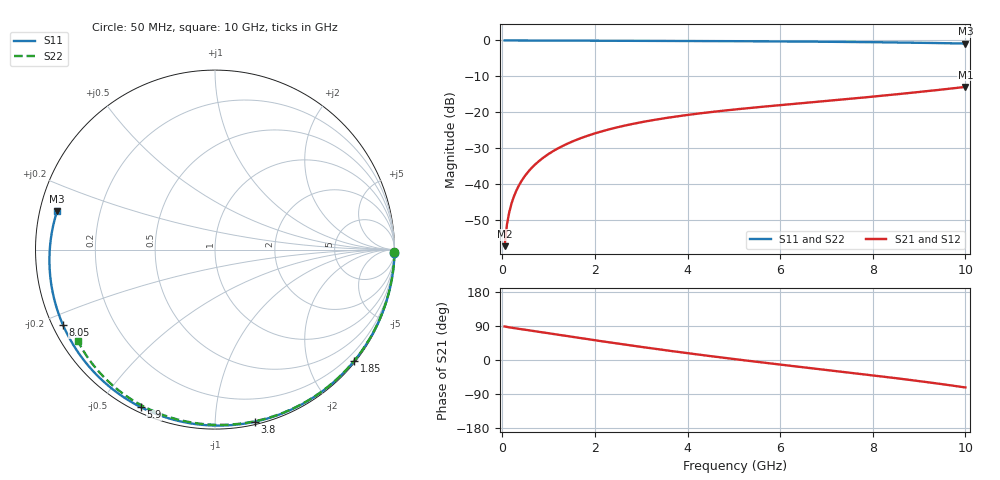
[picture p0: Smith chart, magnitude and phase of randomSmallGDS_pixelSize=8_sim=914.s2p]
! freq	dB(S11)	phase(S11)	dB(S12)	phase(S12)
!  dB(S21)	phase(S21)	dB(S22)	phase(S22)
!S-par simulation data
#  GHz  S  DB  R 50
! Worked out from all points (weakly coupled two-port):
!   200 points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, 50 MHz to 10 GHz, reference 50 ohm
!   highest |S21| = -12.92 dB at 10 GHz (marker M1); lowest = -57.2 dB at 50 MHz (marker M2)
!   lowest |S11| = -0.9 dB at 10 GHz (marker M3), VSWR 20.17, Z = 2.51 + j6 ohm
!   |S11| at or under -10 dB: nowhere
!   |S22| runs from -0.7 to 0.0 dB; largest |S21 - S12| = 0
!   S11 on the Smith chart (normalised r, x): 50 MHz: open; 1.85 GHz: 0.03, -2.84; 3.8 GHz: 0.02, -1.26; 5.9 GHz: 0.02, -0.64; 8.05 GHz: 0.03, -0.23; 10 GHz: 0.05, +0.12
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0.05  -0.00 -1.1  -57.20 88.5  -57.20 88.5  -0.00 -0.9
0.1  -0.00 -2.1  -51.23 87.2  -51.23 87.2  -0.00 -1.7
0.15  -0.00 -3.2  -47.76 86.1  -47.76 86.1  -0.00 -2.6
0.2  -0.00 -4.3  -45.31 85.1  -45.31 85.1  -0.00 -3.4
0.35  -0.01 -7.5  -40.53 82.4  -40.53 82.4  -0.01 -6.0
0.5  -0.01 -10.7  -37.47 79.8  -37.47 79.8  -0.01 -8.6
0.7  -0.02 -14.9  -34.59 76.1  -34.59 76.1  -0.02 -12.0
1  -0.03 -21.2  -31.56 70.5  -31.56 70.5  -0.02 -17.0
1.35  -0.04 -28.5  -29.04 64.0  -29.04 64.0  -0.03 -22.9
1.75  -0.06 -36.7  -26.91 56.7  -26.91 56.7  -0.05 -29.5
1.85  -0.06 -38.8  -26.46 54.9  -26.46 54.9  -0.05 -31.2
2.65  -0.09 -54.9  -23.66 40.6  -23.66 40.6  -0.07 -44.1
3.4  -0.12 -69.5  -21.84 27.8  -21.84 27.8  -0.10 -55.9
3.8  -0.14 -77.0  -21.06 21.3  -21.06 21.3  -0.12 -62.1
4.4  -0.17 -88.2  -20.07 11.7  -20.07 11.7  -0.14 -71.1
5.05  -0.20 -100.0  -19.15 1.8  -19.15 1.8  -0.17 -80.5
5.9  -0.26 -115.1  -18.10 -10.6  -18.10 -10.6  -0.22 -92.5
6.7  -0.33 -129.3  -17.17 -22.0  -17.17 -22.0  -0.28 -103.4
8.05  -0.49 -153.7  -15.56 -41.3  -15.56 -41.3  -0.41 -121.2
8.35  -0.53 -159.4  -15.18 -45.7  -15.18 -45.7  -0.45 -125.1
9.2  -0.68 -176.2  -14.06 -58.9  -14.06 -58.9  -0.58 -136.0
10  -0.86 166.3  -12.92 -72.4  -12.92 -72.4  -0.74 -146.4
